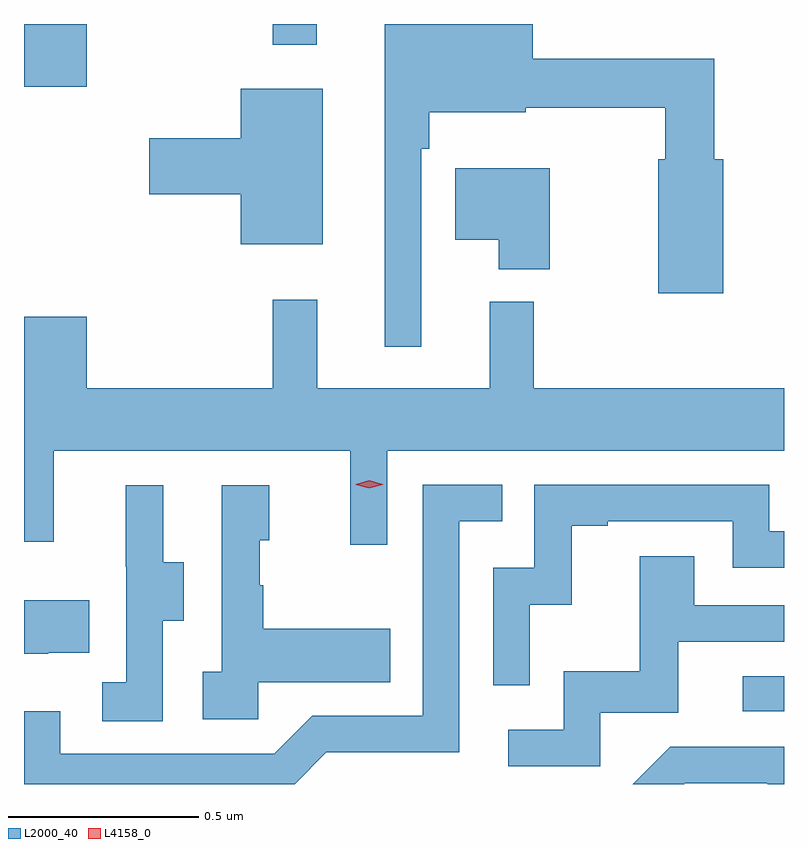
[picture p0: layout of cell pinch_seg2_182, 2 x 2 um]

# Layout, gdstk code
import gdstk
lib = gdstk.Library(unit=1e-6, precision=1e-09)
def R(c, l, rs):  # rectangles x0, y0, x1, y1
    for r in rs: c.add(gdstk.rectangle(r[:2], r[2:], *l))
def P(c, l, *ps):  # polygons
    for p in ps: c.add(gdstk.Polygon(p, *l))
L2000_40 = (2000, 40)
L4158_0 = (4158, 0)

pinch_seg2_182 = lib.new_cell('pinch_seg2_182')
R(pinch_seg2_182, L2000_40, [(1137.927,632.298,1138.035,632.391), (1136.036,633.942,1136.2,634.107), (1136.689,634.053,1136.806,634.107)])
P(pinch_seg2_182, L2000_40, [(1137.081,633.779),(1137.101,633.779),(1137.101,633.875),(1137.355,633.875),(1137.355,633.886),(1137.723,633.886),(1137.723,633.751),(1137.704,633.751),(1137.704,633.399),(1137.875,633.399),(1137.875,633.751),(1137.851,633.751),(1137.851,634.015),(1137.374,634.015),(1137.374,634.107),(1136.984,634.107),(1136.984,633.258),(1137.081,633.258)],
  [(1136.821,633.937),(1136.606,633.937),(1136.606,633.806),(1136.364,633.806),(1136.364,633.659),(1136.606,633.659),(1136.606,633.527),(1136.821,633.527)],
  [(1137.418,633.727),(1137.17,633.727),(1137.17,633.539),(1137.284,633.539),(1137.284,633.461),(1137.418,633.461)],
  [(1136.991,632.984),(1138.035,632.984),(1138.035,633.148),(1137.377,633.148),(1137.377,633.376),(1137.26,633.376),(1137.26,633.148),(1136.807,633.148),(1136.807,633.382),(1136.689,633.382),(1136.689,633.148),(1136.2,633.148),(1136.2,633.337),(1136.036,633.337),(1136.036,633.148),(1136.035,633.148),(1136.035,632.745),(1136.113,632.745),(1136.113,632.984),(1136.894,632.984),(1136.894,632.736),(1136.991,632.736)],
  [(1137.366,632.579),(1137.476,632.579),(1137.476,632.787),(1137.571,632.787),(1137.571,632.799),(1137.9,632.799),(1137.9,632.676),(1138.035,632.676),(1138.035,632.772),(1137.996,632.772),(1137.996,632.895),(1137.378,632.895),(1137.378,632.676),(1137.27,632.676),(1137.27,632.367),(1137.366,632.367)],
  [(1136.83,632.19),(1137.18,632.19),(1137.18,632.799),(1137.293,632.799),(1137.293,632.895),(1137.084,632.895),(1137.084,632.286),(1136.793,632.286),(1136.694,632.187),(1136.13,632.187),(1136.13,632.299),(1136.035,632.299),(1136.035,632.107),(1136.747,632.107)],
  [(1136.652,632.375),(1136.999,632.375),(1136.999,632.515),(1136.665,632.515),(1136.665,632.63),(1136.655,632.63),(1136.655,632.748),(1136.68,632.748),(1136.68,632.893),(1136.556,632.893),(1136.556,632.402),(1136.505,632.402),(1136.505,632.277),(1136.652,632.277)],
  [(1136.4,632.536),(1136.455,632.536),(1136.455,632.691),(1136.401,632.691),(1136.401,632.893),(1136.303,632.893),(1136.303,632.679),(1136.304,632.679),(1136.304,632.375),(1136.241,632.375),(1136.241,632.272),(1136.4,632.272)],
  [(1137.552,632.295),(1137.757,632.295),(1137.757,632.481),(1138.035,632.481),(1138.035,632.577),(1137.799,632.577),(1137.799,632.707),(1137.655,632.707),(1137.655,632.404),(1137.456,632.404),(1137.456,632.25),(1137.309,632.25),(1137.309,632.154),(1137.552,632.154)],
  [(1136.099,632.453),(1136.207,632.453),(1136.207,632.59),(1136.035,632.59),(1136.035,632.45),(1136.099,632.45)],
  [(1137.774,632.109),(1137.99,632.109),(1137.992,632.107),(1138.035,632.107),(1138.035,632.205),(1137.735,632.205),(1137.637,632.107),(1137.772,632.107)])
P(pinch_seg2_182, L4158_0, [(1136.944,632.885),(1136.908,632.895),(1136.908,632.896),(1136.908,632.896),(1136.944,632.906),(1136.979,632.896),(1136.979,632.896),(1136.979,632.895)])

lib.write_gds('pinch_seg2_182.gds')
